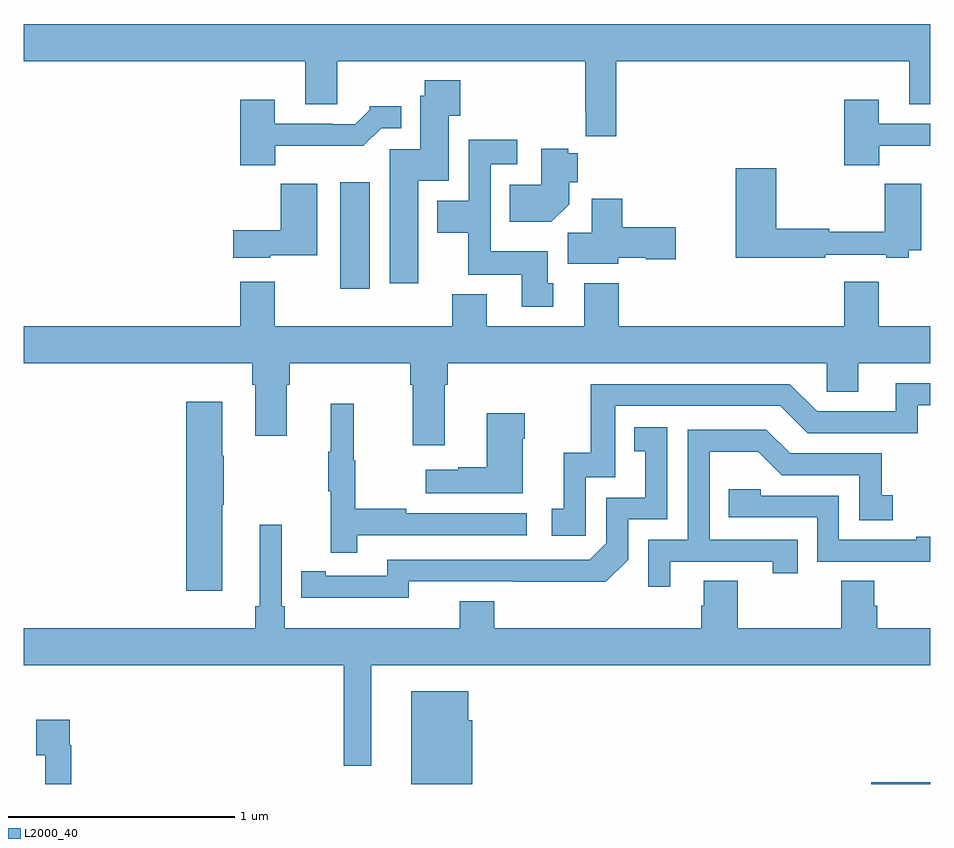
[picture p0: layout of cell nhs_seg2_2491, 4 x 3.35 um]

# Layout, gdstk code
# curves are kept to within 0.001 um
import gdstk
lib = gdstk.Library(unit=1e-6, precision=1e-09)
def R(c, l, rs):  # rectangles x0, y0, x1, y1
    for r in rs: c.add(gdstk.rectangle(r[:2], r[2:], *l))
def P(c, l, *ps):  # polygons
    for p in ps: c.add(gdstk.Polygon(p, *l))
L2000_40 = (2000, 40)

nhs_seg2_2491 = lib.new_cell('nhs_seg2_2491')
R(nhs_seg2_2491, L2000_40, [(244.739,625.8,245,625.808), (242.396,627.984,242.527,628.453)])
P(nhs_seg2_2491, L2000_40, [(243.614,628.988),(244.907,628.988),(244.907,628.798),(245,628.798),(245,629.152),(241,629.152),(241,628.988),(242.243,628.988),(242.243,628.798),(242.383,628.798),(242.383,628.988),(243.478,628.988),(243.478,628.768),(243.479,628.768),(243.479,628.656),(243.614,628.656)],
  [(242.74,628.46),(242.875,628.46),(242.875,628.747),(242.927,628.747),(242.927,628.903),(242.77,628.903),(242.77,628.836),(242.75,628.836),(242.75,628.599),(242.615,628.599),(242.615,628.008),(242.74,628.008)],
  [(244.774,628.614),(245,628.614),(245,628.713),(244.771,628.713),(244.771,628.819),(244.619,628.819),(244.619,628.529),(244.774,628.529)],
  [(242.11,628.614),(242.499,628.614),(242.577,628.692),(242.665,628.692),(242.665,628.789),(242.526,628.789),(242.526,628.774),(242.462,628.71),(242.363,628.71),(242.363,628.713),(242.107,628.713),(242.107,628.819),(241.955,628.819),(241.955,628.529),(242.11,628.529)],
  [(243.337,628.008),(243.313,628.008),(243.313,628.15),(243.06,628.15),(243.06,628.533),(243.178,628.533),(243.178,628.642),(242.964,628.642),(242.964,628.372),(242.825,628.372),(242.825,628.232),(242.962,628.232),(242.962,628.046),(243.197,628.046),(243.197,627.906),(243.337,627.906)],
  [(243.406,628.358),(243.406,628.454),(243.445,628.454),(243.445,628.582),(243.402,628.582),(243.402,628.602),(243.284,628.602),(243.284,628.444),(243.145,628.444),(243.145,628.28),(243.328,628.28)],
  [(244.535,628.134),(244.805,628.134),(244.805,628.122),(244.905,628.122),(244.905,628.154),(244.96,628.154),(244.96,628.447),(244.798,628.447),(244.798,628.235),(244.554,628.235),(244.554,628.25),(244.32,628.25),(244.32,628.516),(244.142,628.516),(244.142,628.122),(244.535,628.122)],
  [(242.088,628.133),(242.296,628.133),(242.296,628.447),(242.134,628.447),(242.134,628.243),(241.926,628.243),(241.926,628.121),(242.088,628.121)],
  [(243.624,628.121),(243.744,628.121),(243.744,628.114),(243.877,628.114),(243.877,628.256),(243.641,628.256),(243.641,628.381),(243.506,628.381),(243.506,628.232),(243.401,628.232),(243.401,628.094),(243.624,628.094)],
  [(242.107,628.015),(241.955,628.015),(241.955,627.82),(241,627.82),(241,627.656),(242.009,627.656),(242.009,627.56),(242.021,627.56),(242.021,627.336),(242.161,627.336),(242.161,627.56),(242.174,627.56),(242.174,627.656),(242.705,627.656),(242.705,627.56),(242.717,627.56),(242.717,627.294),(242.857,627.294),(242.857,627.56),(242.87,627.56),(242.87,627.656),(244.542,627.656),(244.542,627.529),(244.681,627.529),(244.681,627.656),(245,627.656),(245,627.82),(244.771,627.82),(244.771,628.015),(244.619,628.015),(244.619,627.82),(243.626,627.82),(243.626,628.009),(243.473,628.009),(243.473,627.82),(243.043,627.82),(243.043,627.961),(242.891,627.961),(242.891,627.82),(242.107,627.82)],
  [(243.48,627.153),(243.609,627.153),(243.609,627.468),(244.338,627.468),(244.458,627.348),(244.944,627.348),(244.944,627.471),(245,627.471),(245,627.567),(244.847,627.567),(244.847,627.444),(244.5,627.444),(244.38,627.564),(243.501,627.564),(243.501,627.262),(243.383,627.262),(243.383,627.015),(243.33,627.015),(243.33,626.895),(243.48,626.895)],
  [(241.876,627.031),(241.884,627.031),(241.884,627.248),(241.876,627.248),(241.876,627.487),(241.718,627.487),(241.718,626.652),(241.876,626.652)],
  [(242.471,626.898),(243.22,626.898),(243.22,626.994),(242.687,626.994),(242.687,627.014),(242.464,627.014),(242.464,627.228),(242.456,627.228),(242.456,627.478),(242.354,627.478),(242.354,627.265),(242.343,627.265),(242.343,627.091),(242.354,627.091),(242.354,626.82),(242.471,626.82)],
  [(243.202,627.323),(243.21,627.323),(243.21,627.436),(243.044,627.436),(243.044,627.197),(242.918,627.197),(242.918,627.187),(242.775,627.187),(242.775,627.083),(243.202,627.083)],
  [(242.7,626.694),(243.568,626.693),(243.666,626.79),(243.666,626.967),(243.84,626.967),(243.84,627.373),(243.694,627.373),(243.694,627.267),(243.743,627.267),(243.743,627.063),(243.57,627.063),(243.57,626.862),(243.498,626.79),(242.604,626.79),(242.604,626.718),(242.332,626.718),(242.332,626.738),(242.224,626.738),(242.224,626.622),(242.7,626.621)],
  [(243.853,626.781),(244.304,626.781),(244.304,626.73),(244.415,626.73),(244.415,626.877),(244.026,626.877),(244.026,627.266),(244.24,627.266),(244.344,627.162),(244.686,627.162),(244.686,626.964),(244.834,626.964),(244.834,627.073),(244.785,627.073),(244.785,627.258),(244.381,627.258),(244.276,627.363),(243.93,627.363),(243.93,626.877),(243.756,626.877),(243.756,626.67),(243.853,626.67)],
  [(245,626.89),(244.937,626.89),(244.937,626.877),(244.596,626.877),(244.596,627.072),(244.251,627.072),(244.251,627.099),(244.111,627.099),(244.111,626.976),(244.5,626.976),(244.5,626.781),(245,626.781)],
  [(242.533,626.324),(245,626.324),(245,626.488),(244.766,626.488),(244.766,626.586),(244.753,626.586),(244.753,626.696),(244.606,626.696),(244.606,626.488),(244.149,626.488),(244.149,626.696),(244.001,626.696),(244.001,626.586),(243.989,626.586),(243.989,626.488),(243.077,626.488),(243.077,626.605),(242.924,626.605),(242.924,626.488),(242.153,626.488),(242.153,626.584),(242.139,626.584),(242.139,626.944),(242.042,626.944),(242.042,626.584),(242.023,626.584),(242.023,626.488),(241,626.488),(241,626.324),(242.412,626.324),(242.412,625.88),(242.533,625.88)],
  [(242.98,626.082),(242.962,626.082),(242.962,626.209),(242.711,626.209),(242.711,625.8),(242.98,625.8)],
  [(241.211,625.97),(241.204,625.97),(241.204,626.083),(241.055,626.083),(241.055,625.927),(241.095,625.927),(241.095,625.8),(241.211,625.8)])

lib.write_gds('nhs_seg2_2491.gds')
